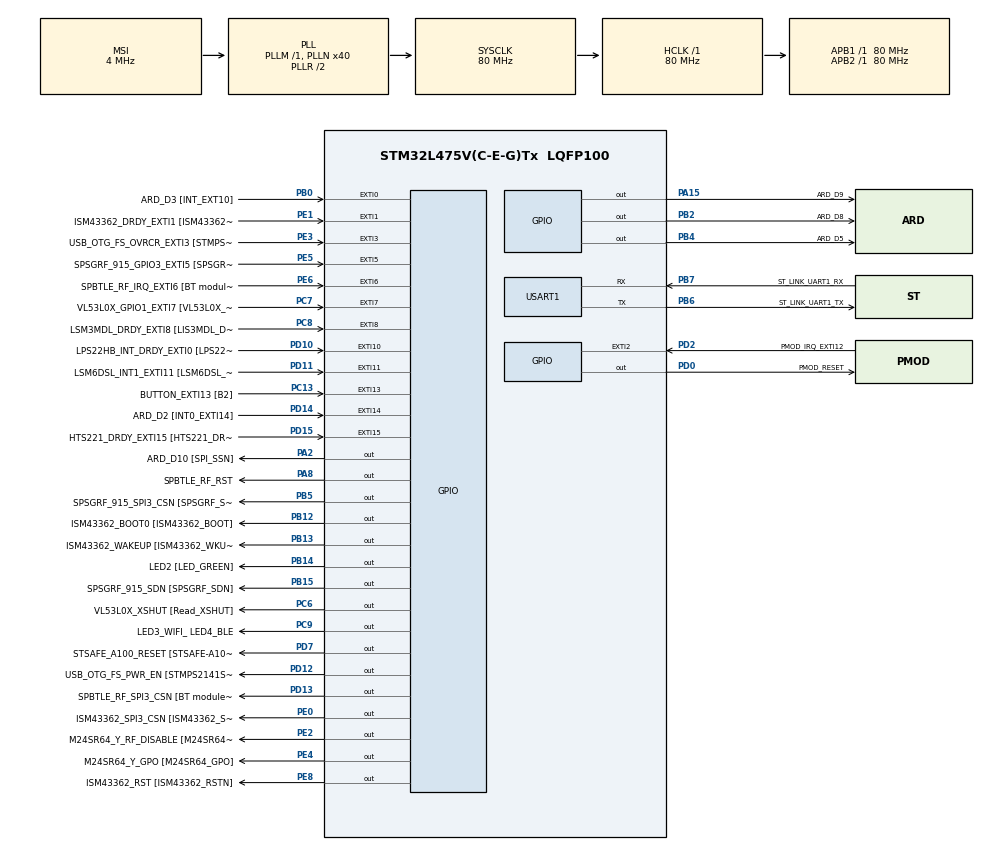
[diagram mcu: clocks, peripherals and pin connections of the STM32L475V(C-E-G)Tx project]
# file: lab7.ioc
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FREERTOS.Tasks01=Thread1,0,128,ThreadFunc,Default,(void*)pcTextForThread1,Dynamic,NULL,NULL;Thread2,1,128,ThreadFunc,Default,(void*)pcTextForThread2,Dynamic,NULL,NULL
FREERTOS.configUSE_IDLE_HOOK=1
Mcu.Family=STM32L4
Mcu.Name=STM32L475V(C-E-G)Tx
Mcu.Package=LQFP100
Mcu.UserConstants=mainDELAY_LOOP_COUNT,0xffffff;pcTextForThread1,"\\n\\rThread 1 count \= %d\\n\\r";pcTextForThread2,"\\n\\rThread 2 count \= %d\\n\\r"
NVIC.EXTI15_10_IRQn=true\:5\:0\:false\:false\:true\:true\:true\:true
NVIC.EXTI9_5_IRQn=true\:5\:0\:false\:false\:true\:true\:true\:true
NVIC.PriorityGroup=NVIC_PRIORITYGROUP_4
PA0.GPIO_Label=ARD_D1 [UART4_TX]
PA0.Signal=UART4_TX
PA1.GPIO_Label=ARD_D0 [UART4_RX]
PA1.Signal=UART4_RX
PA10.GPIO_Label=USB_OTG_FS_ID
PA10.Signal=USB_OTG_FS_ID
PA11.GPIO_Label=USB_OTG_FS_DM
PA11.Signal=USB_OTG_FS_DM
PA12.GPIO_Label=USB_OTG_FS_DP
PA12.Signal=USB_OTG_FS_DP
PA13\ (JTMS-SWDIO).GPIO_Label=SYS_JTMS_SWDIO
PA13\ (JTMS-SWDIO).Mode=Serial_Wire
PA13\ (JTMS-SWDIO).Signal=SYS_JTMS-SWDIO
PA14\ (JTCK-SWCLK).GPIO_Label=SYS_JTCK_SWCLK
PA14\ (JTCK-SWCLK).Mode=Serial_Wire
PA14\ (JTCK-SWCLK).Signal=SYS_JTCK-SWCLK
PA15\ (JTDI).GPIO_Label=ARD_D9
PA15\ (JTDI).Signal=GPIO_Output
PA2.GPIO_Label=ARD_D10 [SPI_SSN]
PA2.Signal=GPIO_Output
PA3.GPIO_Label=ARD_D4
PA3.Signal=S_TIM2_CH4
PA4.GPIO_Label=ARD_D7
PA4.Signal=ADCx_IN9
PA5.GPIO_Label=ARD_D13 [SPI1_SCK]
PA5.Signal=SPI1_SCK
PA6.GPIO_Label=ARD_D12 [SPI1_MISO]
PA6.Signal=SPI1_MISO
PA7.GPIO_Label=ARD_D11 [SPI1_MOSI]
PA7.Signal=SPI1_MOSI
PA8.GPIO_Label=SPBTLE_RF_RST
PA8.Signal=GPIO_Output
PA9.GPIO_Label=USB_OTG_FS_VBUS [STMPS2141STR_OUT]
PA9.Signal=USB_OTG_FS_VBUS
PB0.GPIO_Label=ARD_D3 [INT_EXT10]
PB0.Signal=GPXTI0
PB1.GPIO_Label=ARD_D6 [ADC1_IN6]
PB1.Signal=ADCx_IN16
PB10.GPIO_Label=INTERNAL_I2C2_SCL [VL53L0X_SCL]
PB10.Signal=I2C2_SCL
PB11.GPIO_Label=INTERNAL_I2C2_SDA [VL53L0X_SDA]
PB11.Signal=I2C2_SDA
PB12.GPIO_Label=ISM43362_BOOT0 [ISM43362_BOOT]
PB12.Signal=GPIO_Output
PB13.GPIO_Label=ISM43362_WAKEUP [ISM43362_WKUP]
PB13.Signal=GPIO_Output
PB14.GPIO_Label=LED2 [LED_GREEN]
PB14.Signal=GPIO_Output
PB15.GPIO_Label=SPSGRF_915_SDN [SPSGRF_SDN]
PB15.Signal=GPIO_Output
PB2.GPIO_Label=ARD_D8
PB2.Signal=GPIO_Output
PB3\ (JTDO-TRACESWO).GPIO_Label=SYS_JTD0_SWO
PB3\ (JTDO-TRACESWO).Signal=SYS_JTDO-SWO
PB4\ (NJTRST).GPIO_Label=ARD_D5
PB4\ (NJTRST).Signal=GPIO_Output
PB5.GPIO_Label=SPSGRF_915_SPI3_CSN [SPSGRF_SPI_CS]
PB5.PinState=GPIO_PIN_SET
PB5.Signal=GPIO_Output
PB6.GPIO_Label=ST_LINK_UART1_TX
PB6.Mode=Asynchronous
PB6.Signal=USART1_TX
PB7.GPIO_Label=ST_LINK_UART1_RX
PB7.Mode=Asynchronous
PB7.Signal=USART1_RX
PB8.GPIO_Label=ARD_D15 [I2C1_SCL]
PB8.Signal=I2C1_SCL
PB9.GPIO_Label=ARD_D14 [I2C1_SDA]
PB9.Signal=I2C1_SDA
PC0.GPIO_Label=ARD_A5 [ADC]
PC0.Signal=ADCx_IN1
PC1.GPIO_Label=ARD_A4 [ADC]
PC1.Signal=ADCx_IN2
PC10.GPIO_Label=INTERNAL_SPI3_SCK [BT module_SPI_SCLK] [ISM43362_SCK]
PC10.Signal=SPI3_SCK
PC11.GPIO_Label=INTERNAL_SPI3_MISO [BT module_SPI_MISO] [ISM43362_MISO]
PC11.Signal=SPI3_MISO
PC12.GPIO_Label=INTERNAL_SPI3_MOSI [BT module_SPI_MOSI] [ISM43362_MOSI]
PC12.Signal=SPI3_MOSI
PC13.GPIO_Label=BUTTON_EXTI13 [B2]
PC13.GPIO_ModeDefaultEXTI=GPIO_MODE_IT_FALLING
PC13.Signal=GPXTI13
PC14-OSC32_IN\ (PC14).Signal=RCC_OSC32_IN
PC15-OSC32_OUT\ (PC15).Signal=RCC_OSC32_OUT
PC2.GPIO_Label=ARD_A3 [ADC]
PC2.Signal=ADCx_IN3
PC3.GPIO_Label=ARD_A2 [ADC]
PC3.Signal=ADCx_IN4
PC4.GPIO_Label=ARD_A1 [ADC]
PC4.Signal=ADCx_IN13
PC5.GPIO_Label=ARD_A0 [ADC]
PC5.Signal=ADCx_IN14
PC6.GPIO_Label=VL53L0X_XSHUT [Read_XSHUT]
PC6.Signal=GPIO_Output
PC7.GPIO_Label=VL53L0X_GPIO1_EXTI7 [VL53L0X_GPIO1]
PC7.Signal=GPXTI7
PC8.GPIO_Label=LSM3MDL_DRDY_EXTI8 [LIS3MDL_DRDY]
PC8.Signal=GPXTI8
PC9.GPIO_Label=LED3_WIFI_ LED4_BLE
PC9.Signal=GPIO_Output
PD0.GPIO_Label=PMOD_RESET
PD0.Signal=GPIO_Output
PD1.GPIO_Label=PMOD_SPI2_SCK
PD1.Signal=SPI2_SCK
PD10.GPIO_Label=LPS22HB_INT_DRDY_EXTI0 [LPS22HB_INT_DRDY] 
PD10.Signal=GPXTI10
PD11.GPIO_Label=LSM6DSL_INT1_EXTI11 [LSM6DSL_INT1]
PD11.Signal=GPXTI11
PD12.GPIO_Label=USB_OTG_FS_PWR_EN [STMPS2141STR_EN]
PD12.Signal=GPIO_Output
PD13.GPIO_Label=SPBTLE_RF_SPI3_CSN [BT module_SPI_CS]
PD13.PinState=GPIO_PIN_SET
PD13.Signal=GPIO_Output
PD14.GPIO_Label=ARD_D2 [INT0_EXTI14]
PD14.Signal=GPXTI14
PD15.GPIO_Label=HTS221_DRDY_EXTI15 [HTS221_DRDY]
PD15.Signal=GPXTI15
PD2.GPIO_Label=PMOD_IRQ_EXTI12
PD2.Signal=GPXTI2
PD3.GPIO_Label=PMOD_UART2_CTS
PD3.Signal=USART2_CTS
PD4.GPIO_Label=PMOD_UART2_RTS
PD4.Signal=USART2_RTS
PD5.GPIO_Label=PMOD_UART2_TX
PD5.Signal=USART2_TX
PD6.GPIO_Label=PMOD_UART2_RX
PD6.Signal=USART2_RX
PD7.GPIO_Label=STSAFE_A100_RESET [STSAFE-A100_RESET]
PD7.Signal=GPIO_Output
PD8.GPIO_Label=INTERNAL_UART3_TX [ISM43362_RX]
PD8.Signal=USART3_TX
PD9.GPIO_Label=INTERNAL_UART3_RX [ISM43362_TX]
PD9.Signal=USART3_RX
PE0.GPIO_Label=ISM43362_SPI3_CSN [ISM43362_SSN]
PE0.PinState=GPIO_PIN_SET
PE0.Signal=GPIO_Output
PE1.GPIO_Label=ISM43362_DRDY_EXTI1 [ISM43362_DATARDY]
PE1.Signal=GPXTI1
PE10.GPIO_Label=QUADSPI_CLK [MX25R6435F_SCLK]
PE10.Signal=QUADSPI_CLK
PE11.GPIO_Label=QUADSPI_NCS [MX25R6435F_SCLK]
PE11.Signal=QUADSPI_NCS
PE12.GPIO_Label=OQUADSPI_BK1_IO0 [MX25R6435F_IO0]
PE12.Signal=QUADSPI_BK1_IO0
PE13.GPIO_Label=QUADSPI_BK1_IO1 [MX25R6435F_IO1]
PE13.Signal=QUADSPI_BK1_IO1
PE14.GPIO_Label=QUAD_SPI_BK1_IO2 [MX25R6435F_IO2]
PE14.Signal=QUADSPI_BK1_IO2
PE15.GPIO_Label=QUAD_SPI_BK1_IO3 [MX25R6435F_IO3]
PE15.Signal=QUADSPI_BK1_IO3
PE2.GPIO_Label=M24SR64_Y_RF_DISABLE [M24SR64_RFDIS]
PE2.Signal=GPIO_Output
PE3.GPIO_Label=USB_OTG_FS_OVRCR_EXTI3 [STMPS2141STR_FAULT]
PE3.Signal=GPXTI3
PE4.GPIO_Label=M24SR64_Y_GPO [M24SR64_GPO]
PE4.Signal=GPIO_Output
PE5.GPIO_Label=SPSGRF_915_GPIO3_EXTI5 [SPSGRF_GPIO_3]
PE5.Signal=GPXTI5
PE6.GPIO_Label=SPBTLE_RF_IRQ_EXTI6 [BT module_SPI_IRQ]
PE6.Signal=GPXTI6
PE7.GPIO_Label=DFSDM1_DATIN2 [MP34DT01_DOUT]
PE7.Signal=S_DATAIN2DFSDM1
PE8.GPIO_Label=ISM43362_RST [ISM43362_RSTN]
PE8.Signal=GPIO_Output
PE9.GPIO_Label=DFSDM1_CKOUT [MP34DT01_CLK]
PE9.Signal=S_CKOUTDFSDM1
ProjectManager.HeapSize=0x200
ProjectManager.StackSize=0x400
ProjectManager.TargetToolchain=MDK-ARM V5.27
RCC.ADCFreq_Value=48000000
RCC.AHBFreq_Value=80000000
RCC.APB1Freq_Value=80000000
RCC.APB1TimFreq_Value=80000000
RCC.APB2Freq_Value=80000000
RCC.APB2TimFreq_Value=80000000
RCC.CortexFreq_Value=80000000
RCC.HCLKFreq_Value=80000000
RCC.HSE_VALUE=8000000
RCC.HSI_VALUE=16000000
RCC.LSE_VALUE=32768
RCC.MSI_VALUE=4000000
RCC.PLLN=40
RCC.PLLSAI1N=24
RCC.SYSCLKFreq_VALUE=80000000
RCC.SYSCLKSource=RCC_SYSCLKSOURCE_PLLCLK
RCC.USBFreq_Value=48000000
RCC.VCOOutputFreq_Value=160000000
SH.ADCx_IN1.0=ADC1_IN1
SH.ADCx_IN13.0=ADC1_IN13
SH.ADCx_IN14.0=ADC1_IN14
SH.ADCx_IN16.0=ADC1_IN16
SH.ADCx_IN2.0=ADC1_IN2
SH.ADCx_IN3.0=ADC1_IN3
SH.ADCx_IN4.0=ADC1_IN4
SH.ADCx_IN9.0=ADC1_IN9
SH.S_CKOUTDFSDM1.0=DFSDM1_CKOUT
SH.S_DATAIN2DFSDM1.0=DFSDM1_DATIN2
SH.S_TIM2_CH4.0=TIM2_CH4
USART1.VirtualMode-Asynchronous=VM_ASYNC
VP_FREERTOS_VS_CMSIS_V1.Mode=CMSIS_V1
board=B-L475E-IOT01A1

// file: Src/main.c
/* USER CODE BEGIN Header */
/**
  ******************************************************************************
  * @file           : main.c
  * @brief          : Main program body
  ******************************************************************************
  * @attention
  *
  * <h2><center>&copy; Copyright (c) 2020 STMicroelectronics.
  * All rights reserved.</center></h2>
  *
  * This software component is licensed by ST under Ultimate Liberty license
  * SLA0044, the "License"; You may not use this file except in compliance with
  * the License. You may obtain a copy of the License at:
  *                             www.st.com/SLA0044
  *
  ******************************************************************************
  */
/* USER CODE END Header */

#include "main.h"
#include "cmsis_os.h"

/* USER CODE BEGIN Includes */
#include "stdio.h"
/* USER CODE END Includes */

UART_HandleTypeDef huart1;

osThreadId Thread1Handle;
osThreadId Thread2Handle;
/* USER CODE BEGIN PV */
unsigned long ulIdleCycleCount = 0UL;
/* USER CODE END PV */

void SystemClock_Config(void);
static void MX_GPIO_Init(void);
static void MX_USART1_UART_Init(void);
void ThreadFunc(void const * argument);

/* USER CODE BEGIN PFP */
#ifdef __GNUC__
#define PUTCHAR_PROTOTYPE int __io_putchar(int ch)
#else
#define PUTCHAR_PROTOTYPE int fputc(int ch, FILE *f)
#endif /* __GNUC__ */
/* USER CODE END PFP */

/* USER CODE BEGIN 0 */
PUTCHAR_PROTOTYPE
{
  /* e.g. write a character to the USART1 and Loop until the end of transmission */
  HAL_UART_Transmit(&huart1, (uint8_t *)&ch, 1, 0xFFFF);

  return ch;
}

void vApplicationIdleHook()
{
	/* This hook function does nothing but increment a counter. */
	ulIdleCycleCount++;
}

void vPrintStringAndNumber(char const *pcString, unsigned long ulValue)
{
	/* Print the string, suspending the scheduler as method of mutual
	exclusion. */
	osThreadSuspendAll();
	{
		printf(pcString, ulValue);
	}
	osThreadResumeAll();
}
/* USER CODE END 0 */

int main(void)
{

  /* MCU Configuration--------------------------------------------------------*/

  /* Reset of all peripherals, Initializes the Flash interface and the Systick. */
  HAL_Init();

  /* Configure the system clock */
  SystemClock_Config();

  /* Initialize all configured peripherals */
  MX_GPIO_Init();
  MX_USART1_UART_Init();
  /* USER CODE BEGIN 2 */
	printf("\n\rFreeRTOS Lab 7\n\r");
  /* USER CODE END 2 */

  /* Create the thread(s) */
  /* definition and creation of Thread1 */
  osThreadDef(Thread1, ThreadFunc, osPriorityNormal, 0, 128);
  Thread1Handle = osThreadCreate(osThread(Thread1), (void*)pcTextForThread1);

  /* definition and creation of Thread2 */
  osThreadDef(Thread2, ThreadFunc, osPriorityAboveNormal, 0, 128);
  Thread2Handle = osThreadCreate(osThread(Thread2), (void*)pcTextForThread2);

  /* Start scheduler */
  osKernelStart();

  /* We should never get here as control is now taken by the scheduler */

  /* Infinite loop */
  while (1)
  {

  }
}

void SystemClock_Config(void)
{
  RCC_OscInitTypeDef RCC_OscInitStruct = {0};
  RCC_ClkInitTypeDef RCC_ClkInitStruct = {0};
  RCC_PeriphCLKInitTypeDef PeriphClkInit = {0};

  /** Initializes the CPU, AHB and APB busses clocks
  */
  RCC_OscInitStruct.OscillatorType = RCC_OSCILLATORTYPE_MSI;
  RCC_OscInitStruct.MSIState = RCC_MSI_ON;
  RCC_OscInitStruct.MSICalibrationValue = 0;
  RCC_OscInitStruct.MSIClockRange = RCC_MSIRANGE_6;
  RCC_OscInitStruct.PLL.PLLState = RCC_PLL_ON;
  RCC_OscInitStruct.PLL.PLLSource = RCC_PLLSOURCE_MSI;
  RCC_OscInitStruct.PLL.PLLM = 1;
  RCC_OscInitStruct.PLL.PLLN = 40;
  RCC_OscInitStruct.PLL.PLLP = RCC_PLLP_DIV7;
  RCC_OscInitStruct.PLL.PLLQ = RCC_PLLQ_DIV2;
  RCC_OscInitStruct.PLL.PLLR = RCC_PLLR_DIV2;
  if (HAL_RCC_OscConfig(&RCC_OscInitStruct) != HAL_OK)
  {
    Error_Handler();
  }
  /** Initializes the CPU, AHB and APB busses clocks
  */
  RCC_ClkInitStruct.ClockType = RCC_CLOCKTYPE_HCLK|RCC_CLOCKTYPE_SYSCLK
                              |RCC_CLOCKTYPE_PCLK1|RCC_CLOCKTYPE_PCLK2;
  RCC_ClkInitStruct.SYSCLKSource = RCC_SYSCLKSOURCE_PLLCLK;
  RCC_ClkInitStruct.AHBCLKDivider = RCC_SYSCLK_DIV1;
  RCC_ClkInitStruct.APB1CLKDivider = RCC_HCLK_DIV1;
  RCC_ClkInitStruct.APB2CLKDivider = RCC_HCLK_DIV1;

  if (HAL_RCC_ClockConfig(&RCC_ClkInitStruct, FLASH_LATENCY_4) != HAL_OK)
  {
    Error_Handler();
  }
  PeriphClkInit.PeriphClockSelection = RCC_PERIPHCLK_USART1;
  PeriphClkInit.Usart1ClockSelection = RCC_USART1CLKSOURCE_PCLK2;
  if (HAL_RCCEx_PeriphCLKConfig(&PeriphClkInit) != HAL_OK)
  {
    Error_Handler();
  }
  /** Configure the main internal regulator output voltage
  */
  if (HAL_PWREx_ControlVoltageScaling(PWR_REGULATOR_VOLTAGE_SCALE1) != HAL_OK)
  {
    Error_Handler();
  }
}

static void MX_USART1_UART_Init(void)
{

  huart1.Instance = USART1;
  huart1.Init.BaudRate = 115200;
  huart1.Init.WordLength = UART_WORDLENGTH_8B;
  huart1.Init.StopBits = UART_STOPBITS_1;
  huart1.Init.Parity = UART_PARITY_NONE;
  huart1.Init.Mode = UART_MODE_TX_RX;
  huart1.Init.HwFlowCtl = UART_HWCONTROL_NONE;
  huart1.Init.OverSampling = UART_OVERSAMPLING_16;
  huart1.Init.OneBitSampling = UART_ONE_BIT_SAMPLE_DISABLE;
  huart1.AdvancedInit.AdvFeatureInit = UART_ADVFEATURE_NO_INIT;
  if (HAL_UART_Init(&huart1) != HAL_OK)
  {
    Error_Handler();
  }

}

static void MX_GPIO_Init(void)
{
  GPIO_InitTypeDef GPIO_InitStruct = {0};

  /* GPIO Ports Clock Enable */
  __HAL_RCC_GPIOE_CLK_ENABLE();
  __HAL_RCC_GPIOC_CLK_ENABLE();
  __HAL_RCC_GPIOH_CLK_ENABLE();
  __HAL_RCC_GPIOA_CLK_ENABLE();
  __HAL_RCC_GPIOB_CLK_ENABLE();
  __HAL_RCC_GPIOD_CLK_ENABLE();

  /*Configure GPIO pin Output Level */
  HAL_GPIO_WritePin(GPIOE, M24SR64_Y_RF_DISABLE_Pin|M24SR64_Y_GPO_Pin|ISM43362_RST_Pin, GPIO_PIN_RESET);

  /*Configure GPIO pin Output Level */
  HAL_GPIO_WritePin(GPIOA, ARD_D10_Pin|SPBTLE_RF_RST_Pin|ARD_D9_Pin, GPIO_PIN_RESET);

  /*Configure GPIO pin Output Level */
  HAL_GPIO_WritePin(GPIOB, ARD_D8_Pin|ISM43362_BOOT0_Pin|ISM43362_WAKEUP_Pin|LED2_Pin
                          |SPSGRF_915_SDN_Pin|ARD_D5_Pin, GPIO_PIN_RESET);

  /*Configure GPIO pin Output Level */
  HAL_GPIO_WritePin(GPIOD, USB_OTG_FS_PWR_EN_Pin|PMOD_RESET_Pin|STSAFE_A100_RESET_Pin, GPIO_PIN_RESET);

  /*Configure GPIO pin Output Level */
  HAL_GPIO_WritePin(SPBTLE_RF_SPI3_CSN_GPIO_Port, SPBTLE_RF_SPI3_CSN_Pin, GPIO_PIN_SET);

  /*Configure GPIO pin Output Level */
  HAL_GPIO_WritePin(GPIOC, VL53L0X_XSHUT_Pin|LED3_WIFI__LED4_BLE_Pin, GPIO_PIN_RESET);

  /*Configure GPIO pin Output Level */
  HAL_GPIO_WritePin(SPSGRF_915_SPI3_CSN_GPIO_Port, SPSGRF_915_SPI3_CSN_Pin, GPIO_PIN_SET);

  /*Configure GPIO pin Output Level */
  HAL_GPIO_WritePin(ISM43362_SPI3_CSN_GPIO_Port, ISM43362_SPI3_CSN_Pin, GPIO_PIN_SET);

  /*Configure GPIO pins : M24SR64_Y_RF_DISABLE_Pin M24SR64_Y_GPO_Pin ISM43362_RST_Pin ISM43362_SPI3_CSN_Pin */
  GPIO_InitStruct.Pin = M24SR64_Y_RF_DISABLE_Pin|M24SR64_Y_GPO_Pin|ISM43362_RST_Pin|ISM43362_SPI3_CSN_Pin;
  GPIO_InitStruct.Mode = GPIO_MODE_OUTPUT_PP;
  GPIO_InitStruct.Pull = GPIO_NOPULL;
  GPIO_InitStruct.Speed = GPIO_SPEED_FREQ_LOW;
  HAL_GPIO_Init(GPIOE, &GPIO_InitStruct);

  /*Configure GPIO pins : USB_OTG_FS_OVRCR_EXTI3_Pin SPSGRF_915_GPIO3_EXTI5_Pin SPBTLE_RF_IRQ_EXTI6_Pin ISM43362_DRDY_EXTI1_Pin */
  GPIO_InitStruct.Pin = USB_OTG_FS_OVRCR_EXTI3_Pin|SPSGRF_915_GPIO3_EXTI5_Pin|SPBTLE_RF_IRQ_EXTI6_Pin|ISM43362_DRDY_EXTI1_Pin;
  GPIO_InitStruct.Mode = GPIO_MODE_IT_RISING;
  GPIO_InitStruct.Pull = GPIO_NOPULL;
  HAL_GPIO_Init(GPIOE, &GPIO_InitStruct);

  /*Configure GPIO pin : BUTTON_EXTI13_Pin */
  GPIO_InitStruct.Pin = BUTTON_EXTI13_Pin;
  GPIO_InitStruct.Mode = GPIO_MODE_IT_FALLING;
  GPIO_InitStruct.Pull = GPIO_NOPULL;
  HAL_GPIO_Init(BUTTON_EXTI13_GPIO_Port, &GPIO_InitStruct);

  /*Configure GPIO pins : PH0 PH1 */
  GPIO_InitStruct.Pin = GPIO_PIN_0|GPIO_PIN_1;
  GPIO_InitStruct.Mode = GPIO_MODE_ANALOG;
  GPIO_InitStruct.Pull = GPIO_NOPULL;
  HAL_GPIO_Init(GPIOH, &GPIO_InitStruct);

  /*Configure GPIO pins : ARD_A5_Pin ARD_A4_Pin ARD_A3_Pin ARD_A2_Pin
                           ARD_A1_Pin ARD_A0_Pin */
  GPIO_InitStruct.Pin = ARD_A5_Pin|ARD_A4_Pin|ARD_A3_Pin|ARD_A2_Pin
                          |ARD_A1_Pin|ARD_A0_Pin;
  GPIO_InitStruct.Mode = GPIO_MODE_ANALOG_ADC_CONTROL;
  GPIO_InitStruct.Pull = GPIO_NOPULL;
  HAL_GPIO_Init(GPIOC, &GPIO_InitStruct);

  /*Configure GPIO pins : ARD_D1_Pin ARD_D0_Pin */
  GPIO_InitStruct.Pin = ARD_D1_Pin|ARD_D0_Pin;
  GPIO_InitStruct.Mode = GPIO_MODE_AF_PP;
  GPIO_InitStruct.Pull = GPIO_NOPULL;
  GPIO_InitStruct.Speed = GPIO_SPEED_FREQ_VERY_HIGH;
  GPIO_InitStruct.Alternate = GPIO_AF8_UART4;
  HAL_GPIO_Init(GPIOA, &GPIO_InitStruct);

  /*Configure GPIO pins : ARD_D10_Pin SPBTLE_RF_RST_Pin ARD_D9_Pin */
  GPIO_InitStruct.Pin = ARD_D10_Pin|SPBTLE_RF_RST_Pin|ARD_D9_Pin;
  GPIO_InitStruct.Mode = GPIO_MODE_OUTPUT_PP;
  GPIO_InitStruct.Pull = GPIO_NOPULL;
  GPIO_InitStruct.Speed = GPIO_SPEED_FREQ_LOW;
  HAL_GPIO_Init(GPIOA, &GPIO_InitStruct);

  /*Configure GPIO pin : ARD_D4_Pin */
  GPIO_InitStruct.Pin = ARD_D4_Pin;
  GPIO_InitStruct.Mode = GPIO_MODE_AF_PP;
  GPIO_InitStruct.Pull = GPIO_NOPULL;
  GPIO_InitStruct.Speed = GPIO_SPEED_FREQ_LOW;
  GPIO_InitStruct.Alternate = GPIO_AF1_TIM2;
  HAL_GPIO_Init(ARD_D4_GPIO_Port, &GPIO_InitStruct);

  /*Configure GPIO pin : ARD_D7_Pin */
  GPIO_InitStruct.Pin = ARD_D7_Pin;
  GPIO_InitStruct.Mode = GPIO_MODE_ANALOG_ADC_CONTROL;
  GPIO_InitStruct.Pull = GPIO_NOPULL;
  HAL_GPIO_Init(ARD_D7_GPIO_Port, &GPIO_InitStruct);

  /*Configure GPIO pins : ARD_D13_Pin ARD_D12_Pin ARD_D11_Pin */
  GPIO_InitStruct.Pin = ARD_D13_Pin|ARD_D12_Pin|ARD_D11_Pin;
  GPIO_InitStruct.Mode = GPIO_MODE_AF_PP;
  GPIO_InitStruct.Pull = GPIO_NOPULL;
  GPIO_InitStruct.Speed = GPIO_SPEED_FREQ_VERY_HIGH;
  GPIO_InitStruct.Alternate = GPIO_AF5_SPI1;
  HAL_GPIO_Init(GPIOA, &GPIO_InitStruct);

  /*Configure GPIO pin : ARD_D3_Pin */
  GPIO_InitStruct.Pin = ARD_D3_Pin;
  GPIO_InitStruct.Mode = GPIO_MODE_IT_RISING;
  GPIO_InitStruct.Pull = GPIO_NOPULL;
  HAL_GPIO_Init(ARD_D3_GPIO_Port, &GPIO_InitStruct);

  /*Configure GPIO pin : ARD_D6_Pin */
  GPIO_InitStruct.Pin = ARD_D6_Pin;
  GPIO_InitStruct.Mode = GPIO_MODE_ANALOG_ADC_CONTROL;
  GPIO_InitStruct.Pull = GPIO_NOPULL;
  HAL_GPIO_Init(ARD_D6_GPIO_Port, &GPIO_InitStruct);

  /*Configure GPIO pins : ARD_D8_Pin ISM43362_BOOT0_Pin ISM43362_WAKEUP_Pin LED2_Pin
                           SPSGRF_915_SDN_Pin ARD_D5_Pin SPSGRF_915_SPI3_CSN_Pin */
  GPIO_InitStruct.Pin = ARD_D8_Pin|ISM43362_BOOT0_Pin|ISM43362_WAKEUP_Pin|LED2_Pin
                          |SPSGRF_915_SDN_Pin|ARD_D5_Pin|SPSGRF_915_SPI3_CSN_Pin;
  GPIO_InitStruct.Mode = GPIO_MODE_OUTPUT_PP;
  GPIO_InitStruct.Pull = GPIO_NOPULL;
  GPIO_InitStruct.Speed = GPIO_SPEED_FREQ_LOW;
  HAL_GPIO_Init(GPIOB, &GPIO_InitStruct);

  /*Configure GPIO pins : DFSDM1_DATIN2_Pin DFSDM1_CKOUT_Pin */
  GPIO_InitStruct.Pin = DFSDM1_DATIN2_Pin|DFSDM1_CKOUT_Pin;
  GPIO_InitStruct.Mode = GPIO_MODE_AF_PP;
  GPIO_InitStruct.Pull = GPIO_NOPULL;
  GPIO_InitStruct.Speed = GPIO_SPEED_FREQ_LOW;
  GPIO_InitStruct.Alternate = GPIO_AF6_DFSDM1;
  HAL_GPIO_Init(GPIOE, &GPIO_InitStruct);

  /*Configure GPIO pins : QUADSPI_CLK_Pin QUADSPI_NCS_Pin OQUADSPI_BK1_IO0_Pin QUADSPI_BK1_IO1_Pin
                           QUAD_SPI_BK1_IO2_Pin QUAD_SPI_BK1_IO3_Pin */
  GPIO_InitStruct.Pin = QUADSPI_CLK_Pin|QUADSPI_NCS_Pin|OQUADSPI_BK1_IO0_Pin|QUADSPI_BK1_IO1_Pin
                          |QUAD_SPI_BK1_IO2_Pin|QUAD_SPI_BK1_IO3_Pin;
  GPIO_InitStruct.Mode = GPIO_MODE_AF_PP;
  GPIO_InitStruct.Pull = GPIO_NOPULL;
  GPIO_InitStruct.Speed = GPIO_SPEED_FREQ_VERY_HIGH;
  GPIO_InitStruct.Alternate = GPIO_AF10_QUADSPI;
  HAL_GPIO_Init(GPIOE, &GPIO_InitStruct);

  /*Configure GPIO pins : INTERNAL_I2C2_SCL_Pin INTERNAL_I2C2_SDA_Pin */
  GPIO_InitStruct.Pin = INTERNAL_I2C2_SCL_Pin|INTERNAL_I2C2_SDA_Pin;
  GPIO_InitStruct.Mode = GPIO_MODE_AF_OD;
  GPIO_InitStruct.Pull = GPIO_PULLUP;
  GPIO_InitStruct.Speed = GPIO_SPEED_FREQ_VERY_HIGH;
  GPIO_InitStruct.Alternate = GPIO_AF4_I2C2;
  HAL_GPIO_Init(GPIOB, &GPIO_InitStruct);

  /*Configure GPIO pins : INTERNAL_UART3_TX_Pin INTERNAL_UART3_RX_Pin */
  GPIO_InitStruct.Pin = INTERNAL_UART3_TX_Pin|INTERNAL_UART3_RX_Pin;
  GPIO_InitStruct.Mode = GPIO_MODE_AF_PP;
  GPIO_InitStruct.Pull = GPIO_NOPULL;
  GPIO_InitStruct.Speed = GPIO_SPEED_FREQ_VERY_HIGH;
  GPIO_InitStruct.Alternate = GPIO_AF7_USART3;
  HAL_GPIO_Init(GPIOD, &GPIO_InitStruct);

  /*Configure GPIO pins : LPS22HB_INT_DRDY_EXTI0_Pin LSM6DSL_INT1_EXTI11_Pin ARD_D2_Pin HTS221_DRDY_EXTI15_Pin
                           PMOD_IRQ_EXTI12_Pin */
  GPIO_InitStruct.Pin = LPS22HB_INT_DRDY_EXTI0_Pin|LSM6DSL_INT1_EXTI11_Pin|ARD_D2_Pin|HTS221_DRDY_EXTI15_Pin
                          |PMOD_IRQ_EXTI12_Pin;
  GPIO_InitStruct.Mode = GPIO_MODE_IT_RISING;
  GPIO_InitStruct.Pull = GPIO_NOPULL;
  HAL_GPIO_Init(GPIOD, &GPIO_InitStruct);

  /*Configure GPIO pins : USB_OTG_FS_PWR_EN_Pin SPBTLE_RF_SPI3_CSN_Pin PMOD_RESET_Pin STSAFE_A100_RESET_Pin */
  GPIO_InitStruct.Pin = USB_OTG_FS_PWR_EN_Pin|SPBTLE_RF_SPI3_CSN_Pin|PMOD_RESET_Pin|STSAFE_A100_RESET_Pin;
  GPIO_InitStruct.Mode = GPIO_MODE_OUTPUT_PP;
  GPIO_InitStruct.Pull = GPIO_NOPULL;
  GPIO_InitStruct.Speed = GPIO_SPEED_FREQ_LOW;
  HAL_GPIO_Init(GPIOD, &GPIO_InitStruct);

  /*Configure GPIO pins : VL53L0X_XSHUT_Pin LED3_WIFI__LED4_BLE_Pin */
  GPIO_InitStruct.Pin = VL53L0X_XSHUT_Pin|LED3_WIFI__LED4_BLE_Pin;
  GPIO_InitStruct.Mode = GPIO_MODE_OUTPUT_PP;
  GPIO_InitStruct.Pull = GPIO_NOPULL;
  GPIO_InitStruct.Speed = GPIO_SPEED_FREQ_LOW;
  HAL_GPIO_Init(GPIOC, &GPIO_InitStruct);

  /*Configure GPIO pins : VL53L0X_GPIO1_EXTI7_Pin LSM3MDL_DRDY_EXTI8_Pin */
  GPIO_InitStruct.Pin = VL53L0X_GPIO1_EXTI7_Pin|LSM3MDL_DRDY_EXTI8_Pin;
  GPIO_InitStruct.Mode = GPIO_MODE_IT_RISING;
  GPIO_InitStruct.Pull = GPIO_NOPULL;
  HAL_GPIO_Init(GPIOC, &GPIO_InitStruct);

  /*Configure GPIO pin : USB_OTG_FS_VBUS_Pin */
  GPIO_InitStruct.Pin = USB_OTG_FS_VBUS_Pin;
  GPIO_InitStruct.Mode = GPIO_MODE_INPUT;
  GPIO_InitStruct.Pull = GPIO_NOPULL;
  HAL_GPIO_Init(USB_OTG_FS_VBUS_GPIO_Port, &GPIO_InitStruct);

  /*Configure GPIO pins : USB_OTG_FS_ID_Pin USB_OTG_FS_DM_Pin USB_OTG_FS_DP_Pin */
  GPIO_InitStruct.Pin = USB_OTG_FS_ID_Pin|USB_OTG_FS_DM_Pin|USB_OTG_FS_DP_Pin;
  GPIO_InitStruct.Mode = GPIO_MODE_AF_PP;
  GPIO_InitStruct.Pull = GPIO_NOPULL;
  GPIO_InitStruct.Speed = GPIO_SPEED_FREQ_VERY_HIGH;
  GPIO_InitStruct.Alternate = GPIO_AF10_OTG_FS;
  HAL_GPIO_Init(GPIOA, &GPIO_InitStruct);

  /*Configure GPIO pins : INTERNAL_SPI3_SCK_Pin INTERNAL_SPI3_MISO_Pin INTERNAL_SPI3_MOSI_Pin */
  GPIO_InitStruct.Pin = INTERNAL_SPI3_SCK_Pin|INTERNAL_SPI3_MISO_Pin|INTERNAL_SPI3_MOSI_Pin;
  GPIO_InitStruct.Mode = GPIO_MODE_AF_PP;
  GPIO_InitStruct.Pull = GPIO_NOPULL;
  GPIO_InitStruct.Speed = GPIO_SPEED_FREQ_VERY_HIGH;
  GPIO_InitStruct.Alternate = GPIO_AF6_SPI3;
  HAL_GPIO_Init(GPIOC, &GPIO_InitStruct);

  /*Configure GPIO pin : PMOD_SPI2_SCK_Pin */
  GPIO_InitStruct.Pin = PMOD_SPI2_SCK_Pin;
  GPIO_InitStruct.Mode = GPIO_MODE_AF_PP;
  GPIO_InitStruct.Pull = GPIO_NOPULL;
  GPIO_InitStruct.Speed = GPIO_SPEED_FREQ_VERY_HIGH;
  GPIO_InitStruct.Alternate = GPIO_AF5_SPI2;
  HAL_GPIO_Init(PMOD_SPI2_SCK_GPIO_Port, &GPIO_InitStruct);

  /*Configure GPIO pins : PMOD_UART2_CTS_Pin PMOD_UART2_RTS_Pin PMOD_UART2_TX_Pin PMOD_UART2_RX_Pin */
  GPIO_InitStruct.Pin = PMOD_UART2_CTS_Pin|PMOD_UART2_RTS_Pin|PMOD_UART2_TX_Pin|PMOD_UART2_RX_Pin;
  GPIO_InitStruct.Mode = GPIO_MODE_AF_PP;
  GPIO_InitStruct.Pull = GPIO_NOPULL;
  GPIO_InitStruct.Speed = GPIO_SPEED_FREQ_VERY_HIGH;
  GPIO_InitStruct.Alternate = GPIO_AF7_USART2;
  HAL_GPIO_Init(GPIOD, &GPIO_InitStruct);

  /*Configure GPIO pins : ARD_D15_Pin ARD_D14_Pin */
  GPIO_InitStruct.Pin = ARD_D15_Pin|ARD_D14_Pin;
  GPIO_InitStruct.Mode = GPIO_MODE_AF_OD;
  GPIO_InitStruct.Pull = GPIO_PULLUP;
  GPIO_InitStruct.Speed = GPIO_SPEED_FREQ_VERY_HIGH;
  GPIO_InitStruct.Alternate = GPIO_AF4_I2C1;
  HAL_GPIO_Init(GPIOB, &GPIO_InitStruct);

  /* EXTI interrupt init*/
  HAL_NVIC_SetPriority(EXTI9_5_IRQn, 5, 0);
  HAL_NVIC_EnableIRQ(EXTI9_5_IRQn);

  HAL_NVIC_SetPriority(EXTI15_10_IRQn, 5, 0);
  HAL_NVIC_EnableIRQ(EXTI15_10_IRQn);

}

void ThreadFunc(void const * argument)
{
  /* USER CODE BEGIN 5 */
  /* Infinite loop */
  for(;;)
  {
		vPrintStringAndNumber((char *)argument, ulIdleCycleCount);
    osDelay(1000);
  }
  /* USER CODE END 5 */
}

void Error_Handler(void)
{
}

/************************ (C) COPYRIGHT STMicroelectronics *****END OF FILE****/
